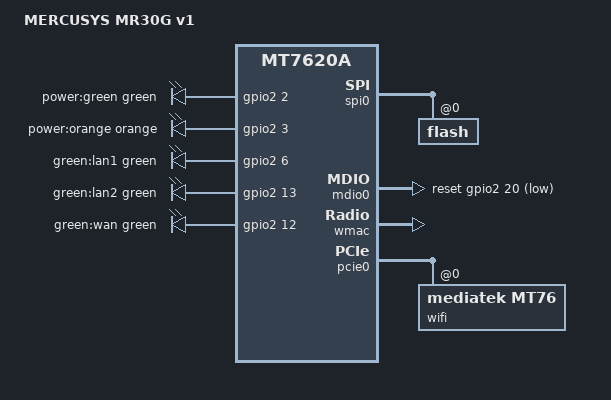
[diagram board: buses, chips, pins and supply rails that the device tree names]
// SPDX-License-Identifier: GPL-2.0-or-later OR MIT

#include <dt-bindings/leds/common.h>

#include "mt7620a_mercusys_16m.dtsi"

/ {
	compatible = "mercusys,mr30g-v1", "ralink,mt7620a-soc";
	model = "MERCUSYS MR30G v1";

	aliases {
		led-boot = &led_power_green;
		led-failsafe = &led_power_orange;
		led-running = &led_power_green;
		led-upgrade = &led_power_orange;
		label-mac-device = &ethernet;
	};

	leds {
		compatible = "gpio-leds";

		led_power_green: led_green {
			label = "power:green";
			function = LED_FUNCTION_POWER;
			color = <LED_COLOR_ID_GREEN>;
			gpios = <&gpio2 2 GPIO_ACTIVE_HIGH>;
		};

		led_power_orange: led_orange {
			label = "power:orange";
			function = LED_FUNCTION_FAULT;
			color = <LED_COLOR_ID_ORANGE>;
			gpios = <&gpio2 3 GPIO_ACTIVE_HIGH>; 
		};

		led-lan1 {
			label = "green:lan1";
			function = LED_FUNCTION_LAN;
			color = <LED_COLOR_ID_GREEN>;
			gpios = <&gpio2 6 GPIO_ACTIVE_HIGH>;
		};

		led-lan2 {
			label = "green:lan2";
			function = LED_FUNCTION_LAN;
			color = <LED_COLOR_ID_GREEN>;
			gpios = <&gpio2 13 GPIO_ACTIVE_HIGH>;
		};

		led-wan {
			label = "green:wan";
			function = LED_FUNCTION_WAN;
			color = <LED_COLOR_ID_GREEN>;
			gpios = <&gpio2 12 GPIO_ACTIVE_HIGH>;
		};

	};
	
	rtl8367s {
		compatible = "realtek,rtl8367b";
		realtek,extif = <7 1 0 1 1 1 1 1 1 2>;
		mii-bus = <&mdio0>;
		phy-id = <29>;
	};
};

&spi0 {
	flash@0 {
		#address-cells = <1>;
		#size-cells = <1>;
	};
};

&state_default {
	gpio {
		groups = "i2c", "uartf", "ephy", "rgmii2";
		function = "gpio";
	};
};

&ethernet {
	pinctrl-names = "default";
	pinctrl-0 = <&rgmii1_pins &mdio_pins>;

	port@5 {
		status = "okay";
		mediatek,fixed-link = <1000 1 1 1>;
		phy-mode = "rgmii";
	};

	mdio0: mdio-bus {
		status = "okay";
		reset-gpios = <&gpio2 20 GPIO_ACTIVE_LOW>;
		reset-delay-us = <10000>;
	};
};

&wmac {
	pinctrl-names = "default", "pa_gpio";
	pinctrl-0 = <&pa_pins>;
	pinctrl-1 = <&pa_gpio_pins>;
	nvmem-cells = <&eeprom_radio_0>, <&macaddr_rom_f100 0>;
	nvmem-cell-names = "eeprom", "mac-address";
};

&pcie0 {
	wifi@0,0 {
		compatible = "mediatek,mt76";
		reg = <0x0000 0 0 0 0>;
		nvmem-cells = <&eeprom_radio_8000>, <&macaddr_rom_f100 2>;
		nvmem-cell-names = "eeprom", "mac-address";
		ieee80211-freq-limit = <5000000 6000000>;
	};
};
